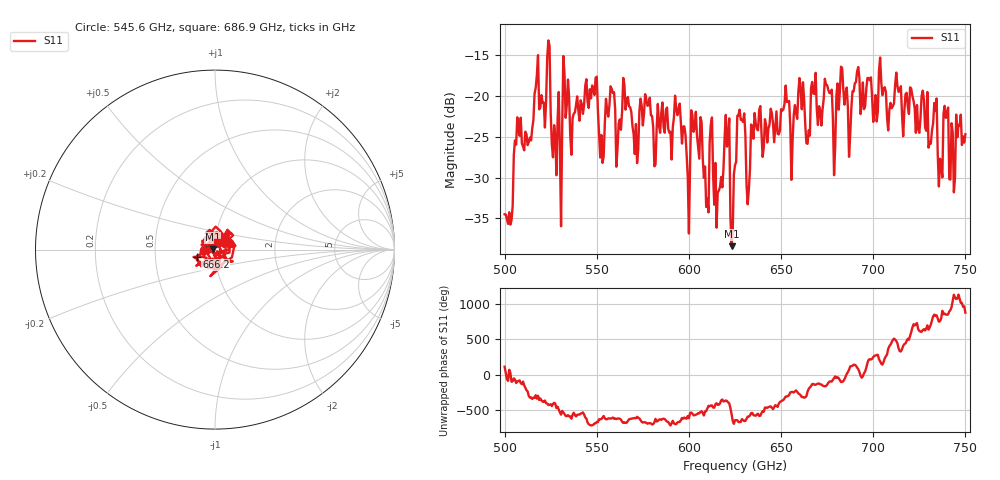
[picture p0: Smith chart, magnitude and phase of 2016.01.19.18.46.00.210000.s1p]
!Created with skrf (http://scikit-rf.org).
# GHz S RI R 50.0
!freq ReS11 ImS11
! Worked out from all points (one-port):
!   401 points, 500 GHz to 750 GHz, reference 50 ohm
!   lowest |S11| = -38.4 dB at 623.1 GHz (marker M1), VSWR 1.02, Z = 48.8 + j0.175 ohm
!   |S11| at or under -10 dB: start of sweep to end of sweep
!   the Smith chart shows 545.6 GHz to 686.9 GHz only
!   S11 on the Smith chart (normalised r, x): 545.6 GHz: 1.16, +0.08; 666.2 GHz: 0.81, -0.07; 686.9 GHz: 1.02, +0.08
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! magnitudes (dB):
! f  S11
! 500 GHz  -34.5
! 517.5 GHz  -17.5
! 531.2 GHz  -23.8
! 545.6 GHz  -21.5
! 552.5 GHz  -24.8
! 558.1 GHz  -19.2
! 562.5 GHz  -22.9
! 593.8 GHz  -22.4
! 609.4 GHz  -33.6
! 612.5 GHz  -22.7
! 616.2 GHz  -31.6
! 620.6 GHz  -26.2
! 623.1 GHz  -38.4
! 625 GHz  -28.5
! 627.5 GHz  -21.7
! 631.9 GHz  -33.3
! 637.5 GHz  -24.2
! 656.2 GHz  -25.5
! 666.2 GHz  -19.1
! 686.9 GHz  -27.5
! 687.5 GHz  -24.9
! 691.2 GHz  -17.1
! 718.8 GHz  -21.3
! 733.1 GHz  -20.9
! 736.2 GHz  -27.7
! 739.4 GHz  -22.7
! 742.5 GHz  -23.4
! 750 GHz  -24.7
